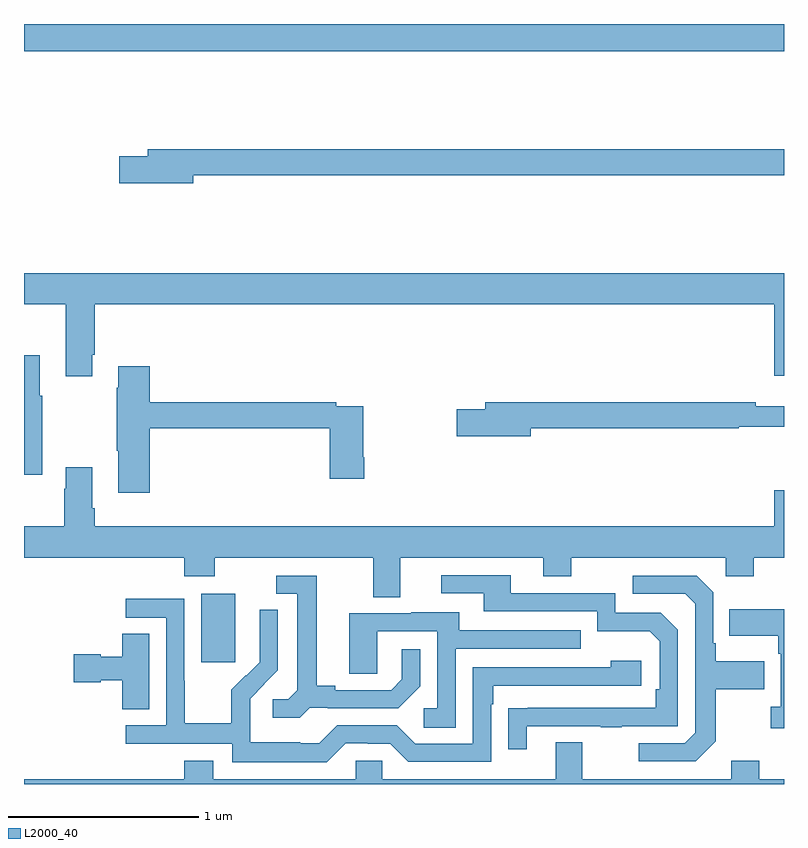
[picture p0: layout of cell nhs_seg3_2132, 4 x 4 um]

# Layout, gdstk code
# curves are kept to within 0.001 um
import gdstk
lib = gdstk.Library(unit=1e-6, precision=1e-09)
def R(c, l, rs):  # rectangles x0, y0, x1, y1
    for r in rs: c.add(gdstk.rectangle(r[:2], r[2:], *l))
def P(c, l, *ps):  # polygons
    for p in ps: c.add(gdstk.Polygon(p, *l))
L2000_40 = (2000, 40)

nhs_seg3_2132 = lib.new_cell('nhs_seg3_2132')
R(nhs_seg3_2132, L2000_40, [(221.933,691.041,222.112,691.402), (221,694.256,225,694.4)])
P(nhs_seg3_2132, L2000_40, [(221.89,693.604),(225,693.604),(225,693.74),(221.651,693.74),(221.651,693.704),(221.502,693.704),(221.502,693.562),(221.89,693.562)],
  [(221.359,692.659),(221.372,692.659),(221.372,692.924),(224.948,692.924),(224.948,692.55),(225,692.55),(225,693.088),(221,693.088),(221,692.924),(221.219,692.924),(221.219,692.547),(221.359,692.547)],
  [(221.095,692.443),(221.083,692.443),(221.083,692.656),(221,692.656),(221,692.027),(221.095,692.027)],
  [(221.663,692.272),(222.608,692.272),(222.608,692.007),(222.791,692.007),(222.791,692.119),(222.786,692.119),(222.786,692.388),(222.644,692.388),(222.644,692.408),(221.663,692.408),(221.663,692.599),(221.495,692.599),(221.495,692.486),(221.488,692.486),(221.488,692.155),(221.495,692.155),(221.495,691.932),(221.663,691.932)],
  [(223.666,692.272),(224.762,692.272),(224.762,692.28),(225,692.28),(225,692.389),(224.852,692.389),(224.852,692.408),(223.427,692.408),(223.427,692.372),(223.278,692.372),(223.278,692.23),(223.666,692.23)],
  [(222.979,691.592),(223.733,691.592),(223.733,691.493),(223.881,691.493),(223.881,691.592),(224.694,691.592),(224.694,691.493),(224.841,691.493),(224.841,691.592),(225,691.592),(225,691.945),(224.948,691.945),(224.948,691.756),(221.372,691.756),(221.372,691.852),(221.359,691.852),(221.359,692.068),(221.219,692.068),(221.219,691.955),(221.212,691.955),(221.212,691.756),(221,691.756),(221,691.592),(221.843,691.592),(221.843,691.493),(222.003,691.493),(222.003,691.592),(222.839,691.592),(222.839,691.384),(222.979,691.384)],
  [(223.645,690.705),(224.035,690.705),(224.035,690.7),(224.147,690.7),(224.147,690.705),(224.442,690.705),(224.442,691.212),(224.352,691.302),(224.112,691.302),(224.112,691.404),(223.561,691.404),(223.561,691.5),(223.197,691.5),(223.197,691.404),(223.421,691.404),(223.421,691.308),(224.016,691.308),(224.016,691.205),(224.293,691.205),(224.346,691.152),(224.346,690.898),(224.326,690.898),(224.326,690.801),(223.549,690.8),(223.549,690.582),(223.645,690.582)],
  [(222.504,690.801),(222.598,690.801),(222.598,690.798),(222.97,690.798),(223.086,690.914),(223.086,691.108),(222.989,691.108),(222.989,690.951),(222.932,690.894),(222.637,690.894),(222.637,690.917),(222.541,690.917),(222.541,691.497),(222.327,691.497),(222.327,691.401),(222.437,691.401),(222.437,690.893),(222.39,690.846),(222.309,690.846),(222.309,690.749),(222.452,690.749)],
  [(224.641,690.625),(224.641,690.898),(224.897,690.898),(224.897,691.045),(224.641,691.045),(224.641,691.141),(224.628,691.141),(224.628,691.41),(224.541,691.497),(224.205,691.497),(224.205,691.401),(224.481,691.401),(224.532,691.35),(224.532,690.669),(224.478,690.615),(224.235,690.615),(224.235,690.519),(224.535,690.519)],
  [(222.693,690.615),(222.809,690.615),(222.809,690.612),(222.927,690.612),(223.023,690.516),(223.458,690.516),(223.458,690.821),(223.471,690.821),(223.471,690.918),(224.248,690.918),(224.248,691.048),(224.087,691.048),(224.087,691.014),(223.362,691.014),(223.362,690.612),(223.059,690.612),(222.963,690.708),(222.648,690.708),(222.555,690.615),(222.455,690.615),(222.455,690.619),(222.192,690.619),(222.192,690.753),(222.19,690.753),(222.19,690.85),(222.336,690.998),(222.336,691.316),(222.24,691.316),(222.24,691.162),(222.242,691.162),(222.242,691.04),(222.171,690.969),(222.168,690.972),(222.091,690.895),(222.091,690.721),(221.847,690.721),(221.847,690.944),(221.844,690.944),(221.844,691.374),(221.535,691.374),(221.535,691.275),(221.748,691.275),(221.748,690.708),(221.535,690.708),(221.535,690.612),(222.096,690.612),(222.096,690.515),(222.593,690.515)],
  [(225,691.321),(224.713,691.321),(224.713,691.181),(224.97,691.181),(224.97,691.085),(224.982,691.085),(224.982,690.806),(224.931,690.806),(224.931,690.693),(225,690.693)],
  [(223.272,691.113),(223.931,691.113),(223.931,691.209),(223.291,691.209),(223.291,691.303),(223.037,691.303),(223.037,691.299),(222.713,691.299),(222.713,690.979),(222.858,690.979),(222.858,691.203),(223.176,691.203),(223.176,690.798),(223.104,690.798),(223.104,690.697),(223.272,690.697)],
  [(221.659,691.19),(221.516,691.19),(221.516,691.069),(221.403,691.069),(221.403,691.082),(221.262,691.082),(221.262,690.935),(221.403,690.935),(221.403,690.947),(221.516,690.947),(221.516,690.793),(221.659,690.793)],
  [(225,690.424),(224.871,690.424),(224.871,690.523),(224.723,690.523),(224.723,690.424),(223.939,690.424),(223.939,690.619),(223.799,690.619),(223.799,690.424),(222.885,690.424),(222.885,690.522),(222.747,690.522),(222.747,690.424),(221.995,690.424),(221.995,690.523),(221.843,690.523),(221.843,690.424),(221,690.424),(221,690.4),(225,690.4)])

lib.write_gds('nhs_seg3_2132.gds')
